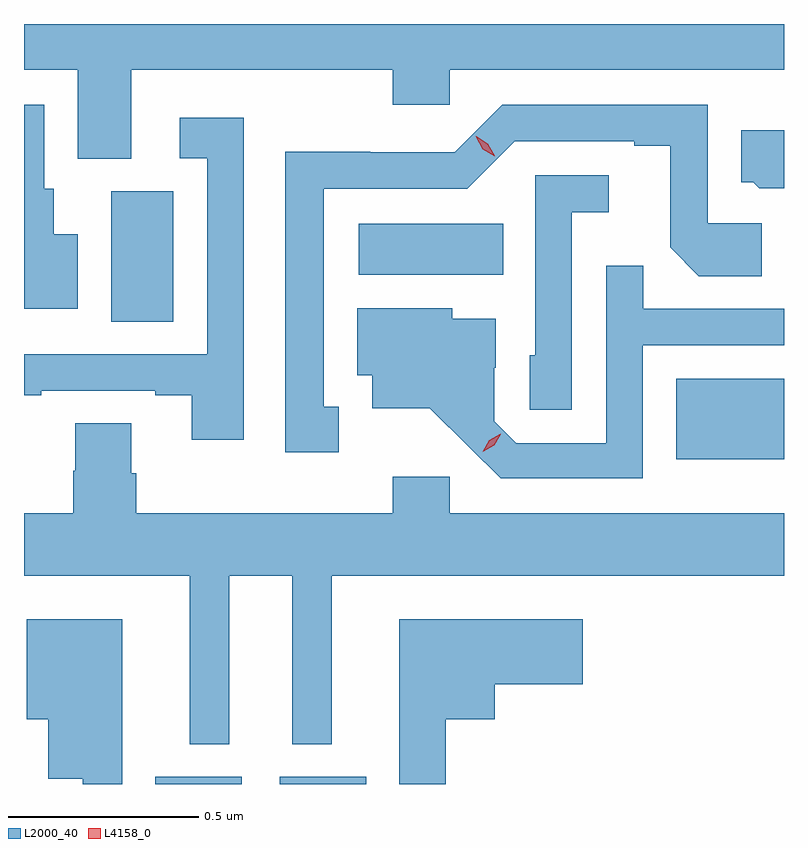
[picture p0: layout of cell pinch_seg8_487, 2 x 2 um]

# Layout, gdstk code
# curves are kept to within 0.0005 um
import gdstk
lib = gdstk.Library(unit=1e-6, precision=1e-09)
def R(c, l, rs):  # rectangles x0, y0, x1, y1
    for r in rs: c.add(gdstk.rectangle(r[:2], r[2:], *l))
def P(c, l, *ps):  # polygons
    for p in ps: c.add(gdstk.Polygon(p, *l))
L2000_40 = (2000, 40)
L4158_0 = (4158, 0)

pinch_seg8_487 = lib.new_cell('pinch_seg8_487')
R(pinch_seg8_487, L2000_40, [(230.081,1126.608,230.308,1126.627), (230.408,1126.608,230.635,1126.627), (231.452,1127.462,231.735,1127.674), (229.964,1127.824,230.128,1128.168), (230.616,1127.948,230.996,1128.082)])
P(pinch_seg8_487, L2000_40, [(230.017,1128.488),(230.705,1128.488),(230.705,1128.395),(230.856,1128.395),(230.856,1128.488),(231.735,1128.488),(231.735,1128.608),(229.735,1128.608),(229.735,1128.488),(229.877,1128.488),(229.877,1128.253),(230.017,1128.253)],
  [(229.876,1128.055),(229.813,1128.055),(229.813,1128.174),(229.788,1128.174),(229.788,1128.396),(229.735,1128.396),(229.735,1127.859),(229.876,1127.859)],
  [(230.563,1127.601),(230.524,1127.601),(230.524,1128.174),(230.901,1128.174),(231.027,1128.3),(231.341,1128.3),(231.341,1128.288),(231.435,1128.288),(231.435,1128.02),(231.511,1127.944),(231.676,1127.944),(231.676,1128.084),(231.534,1128.084),(231.534,1128.396),(230.994,1128.396),(230.868,1128.27),(230.646,1128.27),(230.646,1128.272),(230.423,1128.272),(230.423,1127.481),(230.563,1127.481)],
  [(230.313,1128.361),(230.145,1128.361),(230.145,1128.255),(230.217,1128.255),(230.217,1127.739),(229.735,1127.739),(229.735,1127.631),(229.781,1127.631),(229.781,1127.643),(230.081,1127.643),(230.081,1127.631),(230.177,1127.631),(230.177,1127.514),(230.313,1127.514)],
  [(231.735,1128.328),(231.623,1128.328),(231.623,1128.192),(231.654,1128.192),(231.67,1128.176),(231.735,1128.176)],
  [(231.177,1128.113),(231.274,1128.113),(231.274,1128.21),(231.081,1128.21),(231.081,1127.736),(231.066,1127.736),(231.066,1127.593),(231.177,1127.593)],
  [(231.363,1127.763),(231.735,1127.763),(231.735,1127.859),(231.365,1127.859),(231.365,1127.972),(231.267,1127.972),(231.267,1127.505),(231.03,1127.505),(230.973,1127.562),(230.973,1127.704),(230.977,1127.704),(230.977,1127.833),(230.862,1127.833),(230.862,1127.86),(230.612,1127.86),(230.612,1127.684),(230.651,1127.684),(230.651,1127.597),(230.803,1127.597),(230.99,1127.412),(231.363,1127.412)],
  [(230.275,1127.156),(230.441,1127.156),(230.441,1126.712),(230.545,1126.712),(230.545,1127.156),(231.735,1127.156),(231.735,1127.32),(230.856,1127.32),(230.856,1127.416),(230.705,1127.416),(230.705,1127.32),(230.03,1127.32),(230.03,1127.426),(230.017,1127.426),(230.017,1127.558),(229.87,1127.558),(229.87,1127.433),(229.865,1127.433),(229.865,1127.32),(229.735,1127.32),(229.735,1127.156),(230.171,1127.156),(230.171,1126.712),(230.275,1126.712)],
  [(230.845,1126.778),(230.974,1126.778),(230.974,1126.871),(231.205,1126.871),(231.205,1127.041),(230.723,1127.041),(230.723,1126.608),(230.845,1126.608)],
  [(229.993,1127.041),(229.742,1127.041),(229.742,1126.778),(229.799,1126.778),(229.799,1126.622),(229.889,1126.622),(229.889,1126.608),(229.993,1126.608)])
P(pinch_seg8_487, L4158_0, [(230.942,1127.483),(230.942,1127.483),(230.959,1127.513),(230.989,1127.53),(230.99,1127.53),(230.99,1127.529),(230.973,1127.499),(230.942,1127.483)],
  [(230.974,1128.26),(230.942,1128.279),(230.924,1128.312),(230.924,1128.312),(230.925,1128.312),(230.956,1128.293),(230.974,1128.261),(230.974,1128.26)])

lib.write_gds('pinch_seg8_487.gds')
